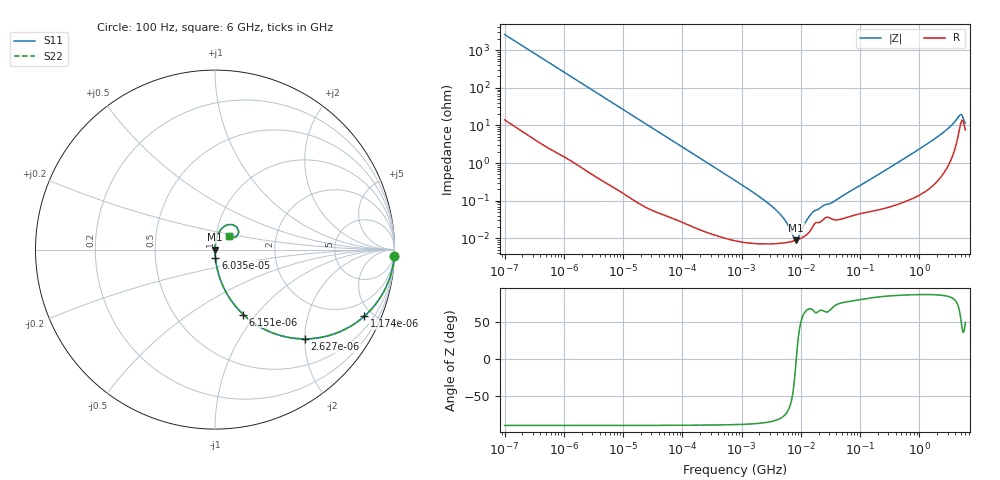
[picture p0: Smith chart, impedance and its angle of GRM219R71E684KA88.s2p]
!Murata Part Number: GRM219R71E684KA88
!These Parameters are Measured in Series Mode Connection
!Data Generated on Mar 30, 2021
!  o--ll--o
!Port1  Port2
!  o------o
!Operation Temp=25[degC], DC Bias Voltage=0[V]
!Freq. Start=100[Hz] Stop=6[GHz] 401[Steps]
# Hz S RI R 50
!Freq.(Hz) S11(Real) S11(Imag) S21(Real) S21(Imag) S12(Real) S12(Imag) S22(Real) S22(Imag)
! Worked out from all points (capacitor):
!   401 points, 100 Hz to 6 GHz, reference 50 ohm
!   read as one part in series: C = 609 nF near 109 Hz
!   lowest |Z| = 8.91 mohm at 8.312 MHz (marker M1)
!   series resonance near 8.389 MHz, so ESL is about 590 pH
!   S11 on the Smith chart (normalised r, x): 100 Hz: 1, -52; 1.174 kHz: 1.03, -4.49; 2.627 kHz: 1.01, -2.01; 6.151 kHz: 1.01, -0.86; 60.35 kHz: 1.00, -0.09; 6 GHz: 1.15, +0.18
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100  0.9983 -0.0382  0.00167 0.0382  0.00167 0.0382  0.9983 -0.0382
383  0.9784 -0.1428  0.0216 0.1428  0.0216 0.1428  0.9784 -0.1428
1174  0.8327 -0.3704  0.1673 0.3704  0.1673 0.3704  0.8327 -0.3704
2008  0.6323 -0.4793  0.3677 0.4793  0.3677 0.4793  0.6323 -0.4793
2627  0.5024 -0.4972  0.4976 0.4972  0.4976 0.4972  0.5024 -0.4972
6151  0.1578 -0.3616  0.8422 0.3616  0.8422 0.3616  0.1578 -0.3616
12592  0.0436 -0.2014  0.9564 0.2014  0.9564 0.2014  0.0436 -0.2014
40335  0.0048 -0.0657  0.9952 0.0657  0.9952 0.0657  0.0048 -0.0657
60352  0.00232 -0.0441  0.9977 0.0441  0.9977 0.0441  0.00232 -0.0441
774597  9.84e-05 -0.00346  0.9999 0.00346  0.9999 0.00346  9.84e-05 -0.00346
3712478  7.27e-05 -0.000588  0.9999 0.000588  0.9999 0.000588  7.27e-05 -0.000588
5311619  7.63e-05 -0.000307  0.9999 0.000307  0.9999 0.000307  7.63e-05 -0.000307
7266822  8.36e-05 -9.38e-05  0.9999 9.38e-05  0.9999 9.38e-05  8.36e-05 -9.38e-05
8311524  8.89e-05 -6e-06  0.9999 6e-06  0.9999 6e-06  8.89e-05 -6e-06
9090158  9.36e-05 5.27e-05  0.9999 -5.27e-05  0.9999 -5.27e-05  9.36e-05 5.27e-05
1.189169e7  0.000117 0.000237  0.9999 -0.000237  0.9999 -0.000237  0.000117 0.000237
1.555665e7  0.000191 0.00044  0.9998 -0.00044  0.9998 -0.00044  0.000191 0.00044
3.124326e8  0.000734 0.00747  0.9993 -0.00747  0.9993 -0.00747  0.000734 0.00747
2.048624e9  0.00589 0.05  0.9941 -0.05  0.9941 -0.05  0.00589 0.05
4.586474e9  0.0762 0.1395  0.9238 -0.1395  0.9238 -0.1395  0.0762 0.1395
5.016141e9  0.1217 0.1258  0.8783 -0.1258  0.8783 -0.1258  0.1217 0.1258
6e9  0.0774 0.0759  0.9226 -0.0759  0.9226 -0.0759  0.0774 0.0759
